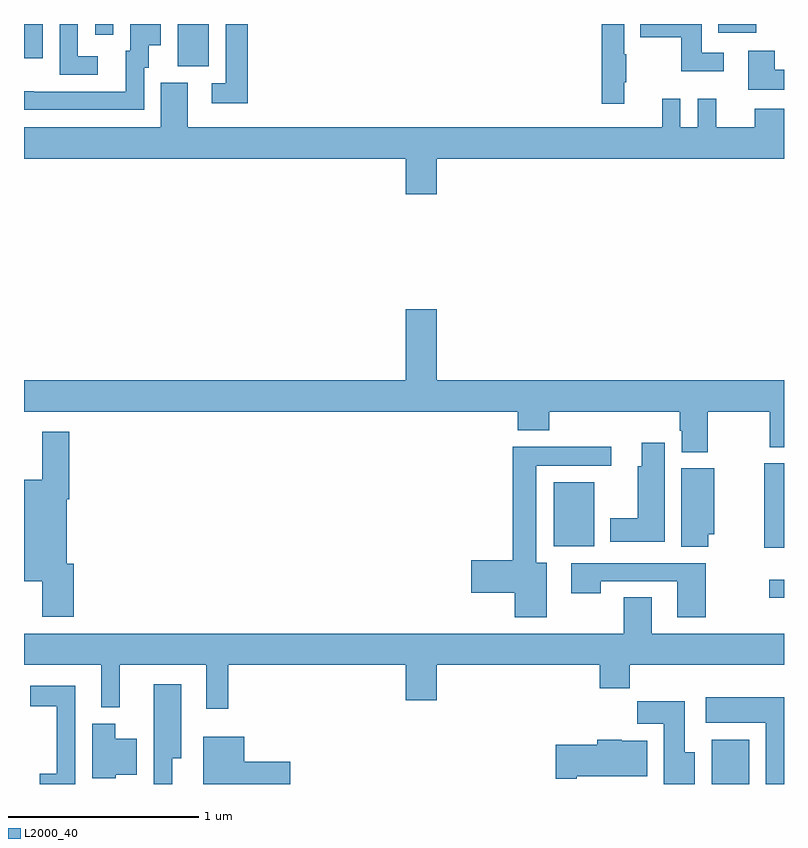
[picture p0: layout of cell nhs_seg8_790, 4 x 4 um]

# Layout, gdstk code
import gdstk
lib = gdstk.Library(unit=1e-6, precision=1e-09)
def R(c, l, rs):  # rectangles x0, y0, x1, y1
    for r in rs: c.add(gdstk.rectangle(r[:2], r[2:], *l))
def P(c, l, *ps):  # polygons
    for p in ps: c.add(gdstk.Polygon(p, *l))
L2000_40 = (2000, 40)

nhs_seg8_790 = lib.new_cell('nhs_seg8_790')
R(nhs_seg8_790, L2000_40, [(166.619,1087.9,166.816,1088.134), (166.923,1088.88,167,1088.976), (166.895,1089.144,167,1089.588), (165.788,1089.152,166,1089.487), (163.808,1091.677,163.972,1091.9), (163,1091.721,163.099,1091.9), (163.374,1091.844,163.47,1091.9), (166.655,1091.855,166.855,1091.9)])
P(nhs_seg8_790, L2000_40, [(163.632,1091.67),(163.657,1091.67),(163.657,1091.789),(163.72,1091.789),(163.72,1091.9),(163.559,1091.9),(163.559,1091.76),(163.535,1091.76),(163.535,1091.544),(163.051,1091.544),(163.051,1091.545),(163,1091.545),(163,1091.448),(163.632,1091.448)],
  [(166.684,1091.748),(166.566,1091.748),(166.566,1091.9),(166.243,1091.9),(166.243,1091.83),(166.458,1091.83),(166.458,1091.651),(166.684,1091.651)],
  [(164.177,1091.9),(164.061,1091.9),(164.061,1091.589),(163.989,1091.589),(163.989,1091.484),(164.177,1091.484)],
  [(163.387,1091.73),(163.284,1091.73),(163.284,1091.9),(163.188,1091.9),(163.188,1091.634),(163.387,1091.634)],
  [(166.16,1091.593),(166.171,1091.593),(166.171,1091.741),(166.158,1091.741),(166.158,1091.9),(166.042,1091.9),(166.042,1091.481),(166.16,1091.481)],
  [(167,1091.659),(166.951,1091.659),(166.951,1091.758),(166.811,1091.758),(166.811,1091.555),(167,1091.555)],
  [(165.172,1091.192),(167,1091.192),(167,1091.455),(166.847,1091.455),(166.847,1091.356),(166.643,1091.356),(166.643,1091.506),(166.545,1091.506),(166.545,1091.356),(166.455,1091.356),(166.455,1091.506),(166.358,1091.506),(166.358,1091.356),(163.861,1091.356),(163.861,1091.592),(163.721,1091.592),(163.721,1091.356),(163,1091.356),(163,1091.192),(165.008,1091.192),(165.008,1091.004),(165.172,1091.004)],
  [(166.599,1089.86),(166.924,1089.86),(166.924,1089.673),(167,1089.673),(167,1090.024),(165.172,1090.024),(165.172,1090.399),(165.008,1090.399),(165.008,1090.024),(163,1090.024),(163,1089.86),(165.599,1089.86),(165.599,1089.761),(165.764,1089.761),(165.764,1089.86),(166.451,1089.86),(166.451,1089.759),(166.463,1089.759),(166.463,1089.647),(166.599,1089.647)],
  [(163.262,1089.06),(163.225,1089.06),(163.225,1089.398),(163.238,1089.398),(163.238,1089.754),(163.097,1089.754),(163.097,1089.502),(163,1089.502),(163,1088.967),(163.097,1088.967),(163.097,1088.781),(163.262,1088.781)],
  [(166.372,1089.697),(166.25,1089.697),(166.25,1089.573),(166.229,1089.573),(166.229,1089.298),(166.085,1089.298),(166.085,1089.176),(166.372,1089.176)],
  [(165.751,1089.064),(165.697,1089.064),(165.697,1089.576),(166.09,1089.576),(166.09,1089.674),(165.572,1089.674),(165.572,1089.077),(165.354,1089.077),(165.354,1088.906),(165.584,1088.906),(165.584,1088.778),(165.751,1088.778)],
  [(166.602,1089.215),(166.633,1089.215),(166.633,1089.562),(166.46,1089.562),(166.46,1089.148),(166.602,1089.148)],
  [(166.587,1089.063),(165.879,1089.063),(165.879,1088.904),(166.035,1088.904),(166.035,1088.967),(166.439,1088.967),(166.439,1088.778),(166.587,1088.778)],
  [(163,1088.528),(163.406,1088.528),(163.406,1088.303),(163.504,1088.303),(163.504,1088.528),(163.958,1088.528),(163.958,1088.295),(164.075,1088.295),(164.075,1088.528),(165.008,1088.528),(165.008,1088.34),(165.172,1088.34),(165.172,1088.528),(166.031,1088.528),(166.031,1088.404),(166.187,1088.404),(166.187,1088.528),(167,1088.528),(167,1088.692),(166.303,1088.692),(166.303,1088.882),(166.156,1088.882),(166.156,1088.692),(163,1088.692)],
  [(163.78,1088.036),(163.828,1088.036),(163.828,1088.425),(163.682,1088.425),(163.682,1087.9),(163.78,1087.9)],
  [(163.269,1088.418),(163.032,1088.418),(163.032,1088.31),(163.172,1088.31),(163.172,1087.954),(163.082,1087.954),(163.082,1087.9),(163.269,1087.9)],
  [(167,1088.356),(166.587,1088.356),(166.587,1088.222),(166.904,1088.222),(166.904,1087.9),(167,1087.9)],
  [(166.531,1088.068),(166.477,1088.068),(166.477,1088.335),(166.228,1088.335),(166.228,1088.216),(166.367,1088.216),(166.367,1087.9),(166.531,1087.9)],
  [(163.482,1087.949),(163.594,1087.949),(163.594,1088.137),(163.48,1088.137),(163.48,1088.218),(163.358,1088.218),(163.358,1087.931),(163.482,1087.931)],
  [(164.401,1088.018),(164.158,1088.018),(164.158,1088.149),(163.943,1088.149),(163.943,1087.9),(164.401,1087.9)],
  [(165.91,1087.94),(166.279,1087.94),(166.279,1088.128),(166.146,1088.128),(166.146,1088.134),(166.016,1088.134),(166.016,1088.106),(165.798,1088.106),(165.798,1087.928),(165.91,1087.928)])

lib.write_gds('nhs_seg8_790.gds')
